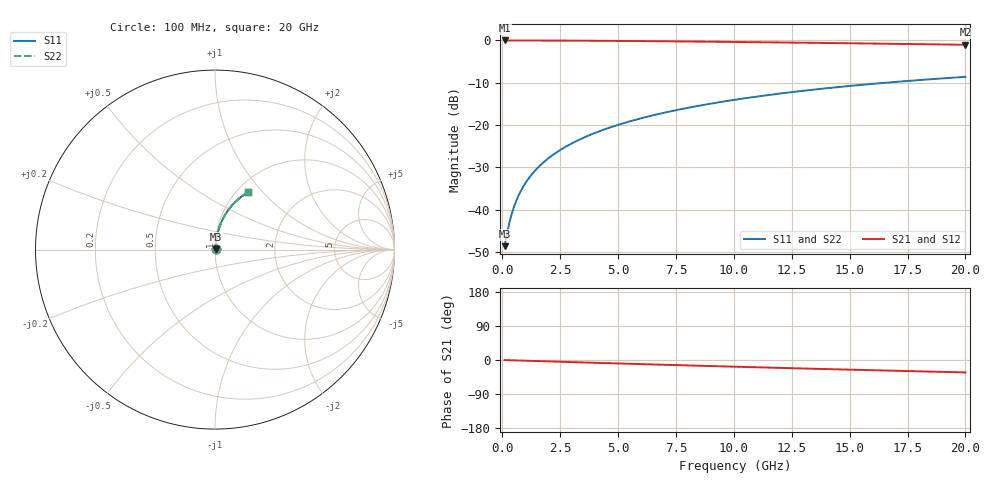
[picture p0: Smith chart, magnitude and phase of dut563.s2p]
! Touchstone file exported from HFSS 2024.1.0
!  File:  C:/UserFiles/LocalFiles/RDL_TSV_Batchsim/temp_RDL_bottom_563_1779689878.aedt
!  Generated:  02:20:21 PM May 25, 2026
!  Design:  RDL_bottom
!  Project:  temp_RDL_bottom_563_1779689878
!  Setup:  Setup1
!  Solution:  Sweep
! Variables:
!  dtsv = 10.80580581um
!  hbump = 3um
!  htsv = 76.19um
!  ldown = 433.94um
!  lrdl = 100um
!  p = 40
!  p1 = 42.02um
!  rhole = 1um
!  t = 450um
!  tdown = 4.2um
!  trdl = 3.915915916um
!  wdown = 12.31um
!  wrdl = 20um
# GHz S MA R 50.000000
! Terminal data exported
! Port[1] = RDL1_T1
! Port[2] = RDL1_T2
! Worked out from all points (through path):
!   200 points, 100 MHz to 20 GHz, reference 50 ohm
!   highest |S21| = -0.03 dB at 100 MHz (marker M1); lowest = -1.0 dB at 20 GHz (marker M2)
!   group delay of S21, straight-line fit = 4.54 ps
!   lowest |S11| = -48.6 dB at 100 MHz (marker M3), VSWR 1.01, Z = 50.3 + j0.212 ohm
!   |S11| at or under -10 dB: start of sweep to 16.58 GHz
!   |S22| runs from -48.6 to -8.6 dB; largest |S21 - S12| = 3.4e-15
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0.1  0.003713 34.6  0.9969 -0.2  0.9969 -0.2  0.003713 34.6
! Gamma 0 0 0 0
! Port Impedance 50 0 50 0
0.2  0.005181 52.9  0.9969 -0.4  0.9969 -0.4  0.005179 52.9
0.3  0.006923 62.7  0.9968 -0.6  0.9968 -0.6  0.006921 62.7
0.4  0.008788 68.4  0.9967 -0.8  0.9967 -0.8  0.008787 68.4
0.5  0.01071 72.1  0.9966 -0.9  0.9966 -0.9  0.01071 72.1
0.6  0.01267 74.6  0.9965 -1.1  0.9965 -1.1  0.01267 74.6
0.8  0.01664 77.7  0.9963 -1.5  0.9963 -1.5  0.01665 77.7
1.1  0.02265 80.1  0.9959 -2.1  0.9959 -2.1  0.02265 80.1
1.5  0.03068 81.5  0.9953 -2.8  0.9953 -2.8  0.03068 81.5
1.8  0.03669 82.0  0.9948 -3.4  0.9948 -3.4  0.03669 82.0
2.1  0.0427 82.2  0.9942 -3.9  0.9942 -3.9  0.0427 82.2
2.7  0.05469 82.3  0.9928 -5.0  0.9928 -5.0  0.05469 82.3
3.5  0.07064 81.9  0.9904 -6.5  0.9904 -6.5  0.07064 81.9
4.2  0.08457 81.3  0.9879 -7.7  0.9879 -7.7  0.08458 81.3
5  0.1005 80.5  0.9847 -9.2  0.9847 -9.2  0.1005 80.5
5.9  0.1183 79.5  0.9805 -10.8  0.9805 -10.8  0.1183 79.5
6.8  0.136 78.4  0.976 -12.3  0.976 -12.3  0.136 78.4
8.3  0.1653 76.4  0.9678 -14.9  0.9678 -14.9  0.1653 76.4
10.1  0.1999 73.9  0.957 -17.8  0.957 -17.8  0.1999 73.9
13.4  0.261 69.2  0.9351 -23.1  0.9351 -23.1  0.2611 69.2
16.7  0.3183 64.4  0.9115 -28.0  0.9115 -28.0  0.3183 64.5
20  0.3708 59.8  0.8868 -32.8  0.8868 -32.8  0.3709 59.8
